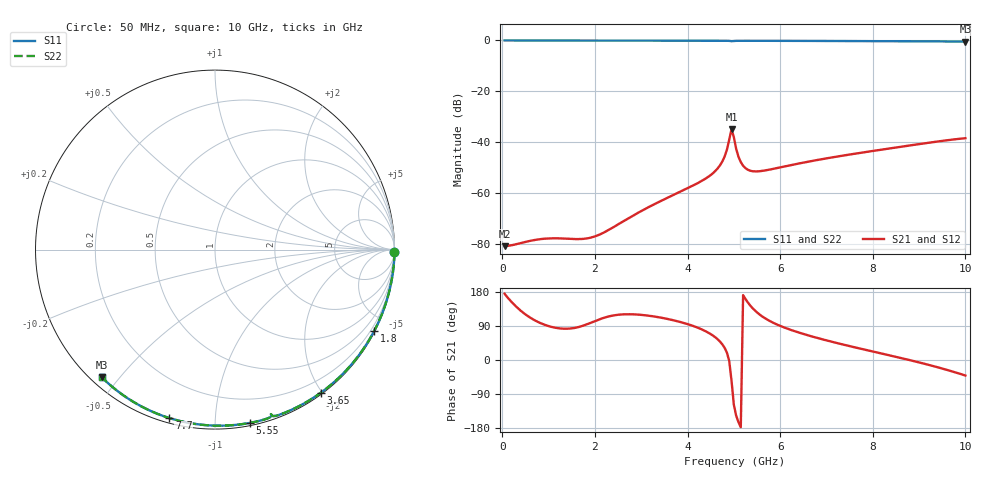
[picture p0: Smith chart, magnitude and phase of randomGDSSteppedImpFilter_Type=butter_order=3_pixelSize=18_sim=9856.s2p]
! freq	dB(S11)	phase(S11)	dB(S12)	phase(S12)
!  dB(S21)	phase(S21)	dB(S22)	phase(S22)
!S-par simulation data
#  GHz  S  DB  R 50
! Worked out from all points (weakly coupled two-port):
!   200 points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, 50 MHz to 10 GHz, reference 50 ohm
!   highest |S21| = -34.85 dB at 4.95 GHz (marker M1); lowest = -80.8 dB at 50 MHz (marker M2)
!   lowest |S11| = -0.4 dB at 10 GHz (marker M3), VSWR 39.63, Z = 1.52 - j22.4 ohm
!   |S11| at or under -10 dB: nowhere
!   |S22| runs from -0.4 to 0.0 dB; largest |S21 - S12| = 0
!   S11 on the Smith chart (normalised r, x): 50 MHz: open; 1.8 GHz: 0.04, -4.17; 3.65 GHz: 0.02, -1.99; 5.55 GHz: 0.02, -1.22; 7.7 GHz: 0.02, -0.77; 10 GHz: 0.03, -0.45
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0.05  -0.00 -0.8  -80.84 174.8  -80.84 174.8  -0.00 -0.8
0.95  -0.02 -14.4  -77.86 91.4  -77.86 91.4  -0.02 -14.4
1.75  -0.03 -26.2  -77.98 90.8  -77.98 90.8  -0.03 -26.2
1.8  -0.03 -27.0  -77.87 92.9  -77.87 92.9  -0.03 -27.0
2.2  -0.04 -32.8  -75.43 111.6  -75.43 111.6  -0.04 -32.8
3.4  -0.07 -49.9  -63.29 112.4  -63.29 112.4  -0.07 -49.9
3.65  -0.07 -53.4  -61.10 106.1  -61.10 106.1  -0.07 -53.4
4.3  -0.09 -62.4  -55.27 81.2  -55.27 81.2  -0.09 -62.4
4.65  -0.10 -67.1  -50.30 54.7  -50.30 54.7  -0.10 -67.1
4.8  -0.11 -69.3  -45.67 32.4  -45.67 32.4  -0.11 -69.3
4.85  -0.12 -70.0  -42.97 19.6  -42.97 19.6  -0.12 -70.0
4.95  -0.28 -71.2  -34.85 -54.6  -34.85 -54.6  -0.28 -71.2
5  -0.20 -71.1  -38.01 -118.0  -38.01 -118.0  -0.20 -71.1
5.05  -0.15 -71.8  -42.59 -146.8  -42.59 -146.8  -0.15 -71.8
5.15  -0.13 -73.3  -47.80 -177.4  -47.80 -177.4  -0.13 -73.3
5.25  -0.12 -74.7  -50.16 161.2  -50.16 161.2  -0.12 -74.7
5.4  -0.13 -76.7  -51.38 137.3  -51.38 137.3  -0.13 -76.7
5.55  -0.13 -78.6  -51.40 120.6  -51.40 120.6  -0.13 -78.6
6.7  -0.18 -93.1  -47.32 61.7  -47.32 61.7  -0.18 -93.1
7.7  -0.24 -105.1  -44.26 30.9  -44.26 30.9  -0.24 -105.1
8.35  -0.29 -112.8  -42.48 12.6  -42.48 12.6  -0.29 -112.8
10  -0.44 -131.7  -38.41 -40.9  -38.41 -40.9  -0.44 -131.7
